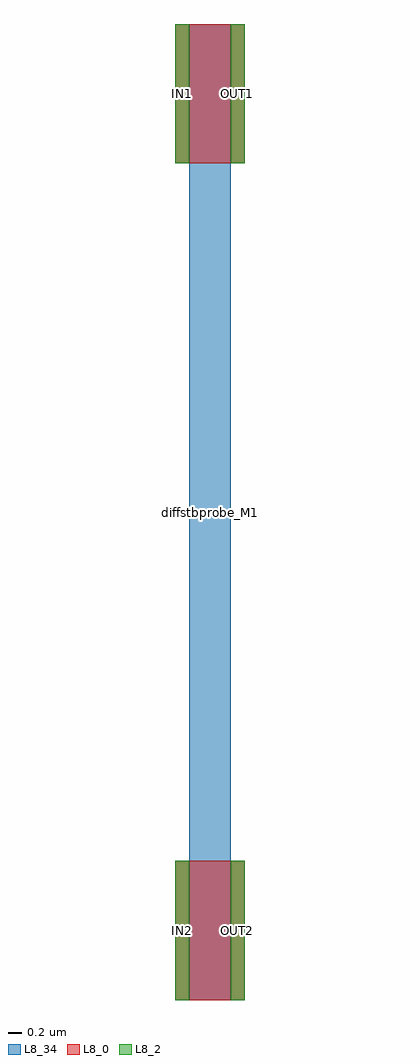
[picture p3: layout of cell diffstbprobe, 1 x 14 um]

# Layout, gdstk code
import gdstk
lib = gdstk.Library(unit=1e-6, precision=1e-09)
def R(c, l, rs):  # rectangles x0, y0, x1, y1
    for r in rs: c.add(gdstk.rectangle(r[:2], r[2:], *l))
L8_0 = (8, 0)
L8_2 = (8, 2)
L8_34 = (8, 34)

diffstbprobe = lib.new_cell('diffstbprobe')
R(diffstbprobe, L8_2, [(-0.5,0,-0.3,2), (0.3,0,0.5,2), (-0.5,12,-0.3,14), (0.3,12,0.5,14)])
diffstbprobe.add(gdstk.FlexPath([(0,12),(0,14)], 1, ends="flush", simple_path=True, layer=8, datatype=0))  # L8_0
diffstbprobe.add(gdstk.FlexPath([(0,0),(0,2)], 1, ends="flush", simple_path=True, layer=8, datatype=0))  # L8_0
diffstbprobe.add(gdstk.FlexPath([(0,0),(0,14)], 0.6, ends="flush", simple_path=True, layer=8, datatype=34))  # L8_34
diffstbprobe.add(gdstk.Label('OUT1', (0.4,13), layer=63, texttype=0))
diffstbprobe.add(gdstk.Label('IN1', (-0.4,13), layer=63, texttype=0))
diffstbprobe.add(gdstk.Label('OUT2', (0.4,1), layer=63, texttype=0))
diffstbprobe.add(gdstk.Label('IN2', (-0.4,1), layer=63, texttype=0))
diffstbprobe.add(gdstk.Label('diffstb_wire1', (0,13), layer=63, texttype=0))
diffstbprobe.add(gdstk.Label('diffstb_wire2', (0,1), layer=63, texttype=0))
diffstbprobe.add(gdstk.Label('diffstbprobe_M1', (0,7), layer=63, texttype=0))
diffstbprobe.add(gdstk.Label('IN1', (-0.4,13), layer=63, texttype=0))
diffstbprobe.add(gdstk.Label('OUT1', (0.4,13), layer=63, texttype=0))
diffstbprobe.add(gdstk.Label('IN2', (-0.4,1), layer=63, texttype=0))
diffstbprobe.add(gdstk.Label('OUT2', (0.4,1), layer=63, texttype=0))

lib.write_gds('diffstbprobe.gds')
